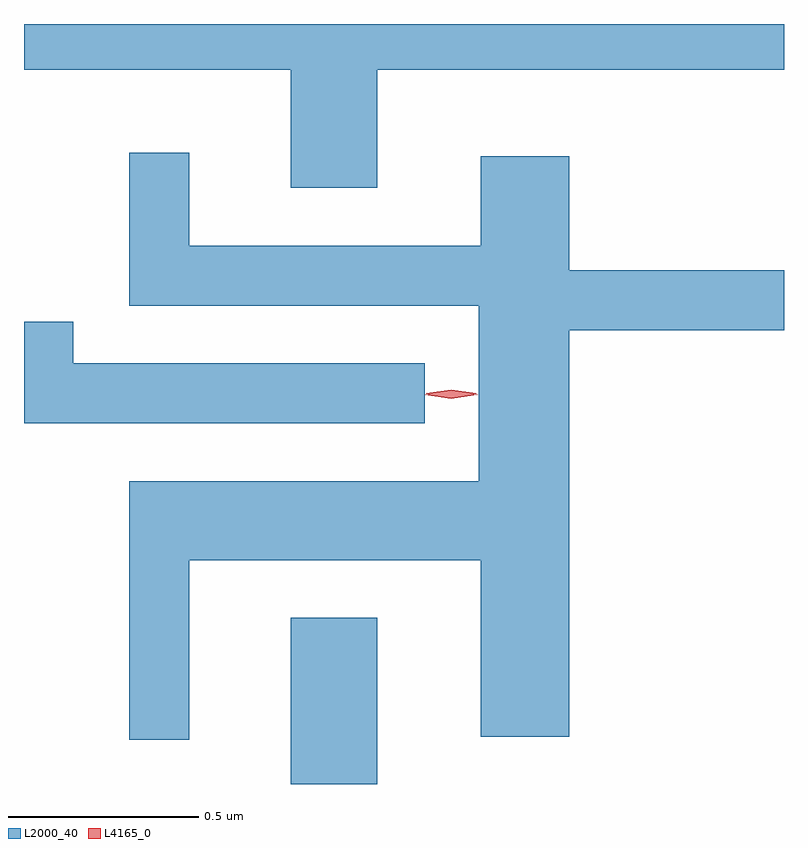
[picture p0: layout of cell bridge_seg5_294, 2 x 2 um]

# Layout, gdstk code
import gdstk
lib = gdstk.Library(unit=1e-6, precision=1e-09)
def R(c, l, rs):  # rectangles x0, y0, x1, y1
    for r in rs: c.add(gdstk.rectangle(r[:2], r[2:], *l))
def P(c, l, *ps):  # polygons
    for p in ps: c.add(gdstk.Polygon(p, *l))
L2000_40 = (2000, 40)
L4165_0 = (4165, 0)

bridge_seg5_294 = lib.new_cell('bridge_seg5_294')
R(bridge_seg5_294, L2000_40, [(881.871,1461.577,882.099,1462.014)])
P(bridge_seg5_294, L2000_40, [(882.099,1463.456),(883.169,1463.456),(883.169,1463.577),(881.169,1463.577),(881.169,1463.456),(881.871,1463.456),(881.871,1463.146),(882.099,1463.146)],
  [(881.604,1462.166),(882.371,1462.166),(882.371,1461.701),(882.604,1461.701),(882.604,1462.771),(883.169,1462.771),(883.169,1462.929),(882.604,1462.929),(882.604,1463.229),(882.371,1463.229),(882.371,1462.994),(881.604,1462.994),(881.604,1463.238),(881.446,1463.238),(881.446,1462.836),(882.366,1462.836),(882.366,1462.374),(881.446,1462.374),(881.446,1461.693),(881.604,1461.693)],
  [(882.223,1462.684),(881.299,1462.684),(881.299,1462.794),(881.169,1462.794),(881.169,1462.526),(882.223,1462.526)])
P(bridge_seg5_294, L4165_0, [(882.293,1462.595),(882.228,1462.604),(882.227,1462.605),(882.228,1462.605),(882.293,1462.615),(882.359,1462.605),(882.359,1462.605),(882.359,1462.604)],
  [(882.293,1462.591),(882.224,1462.601),(882.224,1462.601),(882.224,1462.602),(882.293,1462.611),(882.362,1462.602),(882.363,1462.601),(882.362,1462.601)])

lib.write_gds('bridge_seg5_294.gds')
